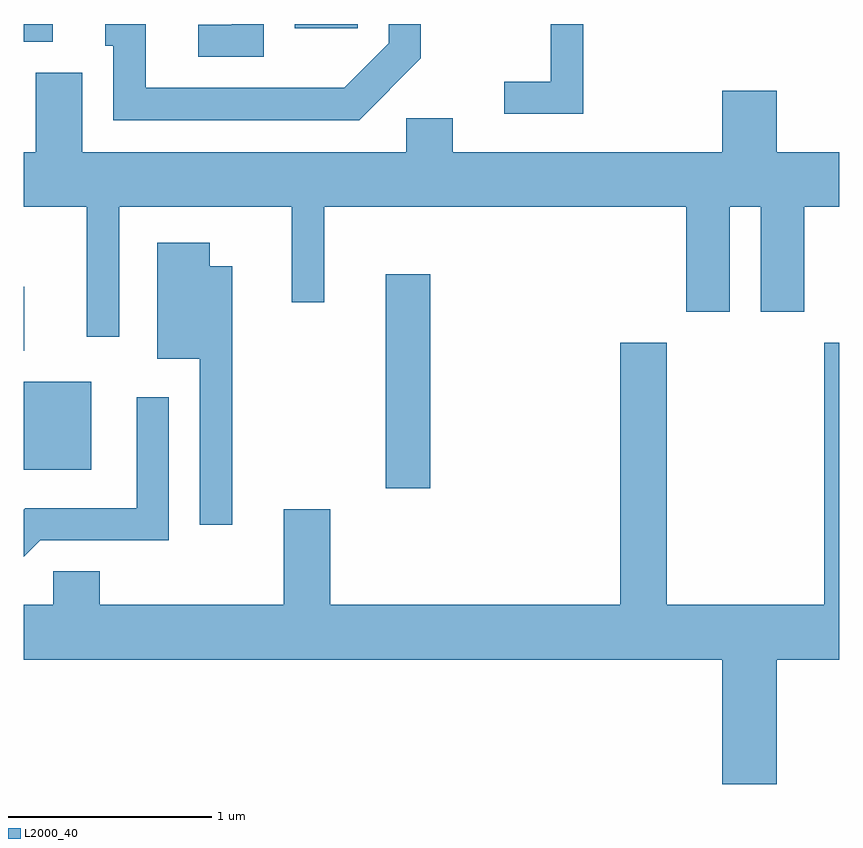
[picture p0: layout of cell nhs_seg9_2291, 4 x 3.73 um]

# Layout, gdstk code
import gdstk
lib = gdstk.Library(unit=1e-6, precision=1e-09)
def R(c, l, rs):  # rectangles x0, y0, x1, y1
    for r in rs: c.add(gdstk.rectangle(r[:2], r[2:], *l))
def P(c, l, *ps):  # polygons
    for p in ps: c.add(gdstk.Polygon(p, *l))
L2000_40 = (2000, 40)

nhs_seg9_2291 = lib.new_cell('nhs_seg9_2291')
R(nhs_seg9_2291, L2000_40, [(253.386,2048.156,253.604,2049.204), (251.611,2048.246,251.944,2048.679), (251.611,2048.831,251.614,2049.143), (251.611,2050.346,251.754,2050.432), (252.941,2050.411,253.249,2050.432)])
P(nhs_seg9_2291, L2000_40, [(252.789,2050.432),(252.631,2050.432),(252.631,2050.429),(252.468,2050.429),(252.468,2050.271),(252.789,2050.271)],
  [(254.354,2050.432),(254.196,2050.432),(254.196,2050.149),(253.968,2050.149),(253.968,2049.991),(254.354,2049.991)],
  [(253.559,2050.264),(253.559,2050.432),(253.401,2050.432),(253.401,2050.337),(253.184,2050.119),(252.209,2050.119),(252.209,2050.432),(252.011,2050.432),(252.011,2050.326),(252.051,2050.326),(252.051,2049.961),(253.257,2049.961)],
  [(251.921,2048.898),(252.079,2048.898),(252.079,2049.536),(252.926,2049.536),(252.926,2049.068),(253.084,2049.068),(253.084,2049.536),(254.861,2049.536),(254.861,2049.021),(255.074,2049.021),(255.074,2049.536),(255.226,2049.536),(255.226,2049.021),(255.439,2049.021),(255.439,2049.536),(255.611,2049.536),(255.611,2049.804),(255.304,2049.804),(255.304,2050.104),(255.036,2050.104),(255.036,2049.804),(253.714,2049.804),(253.714,2049.969),(253.486,2049.969),(253.486,2049.804),(251.899,2049.804),(251.899,2050.194),(251.671,2050.194),(251.671,2049.804),(251.611,2049.804),(251.611,2049.536),(251.921,2049.536)],
  [(252.634,2049.244),(252.524,2049.244),(252.524,2049.359),(252.266,2049.359),(252.266,2048.791),(252.476,2048.791),(252.476,2047.978),(252.634,2047.978)],
  [(255.304,2047.316),(255.611,2047.316),(255.611,2048.869),(255.536,2048.869),(255.536,2047.584),(254.764,2047.584),(254.764,2048.869),(254.536,2048.869),(254.536,2047.584),(253.114,2047.584),(253.114,2048.054),(252.886,2048.054),(252.886,2047.584),(251.984,2047.584),(251.984,2047.749),(251.756,2047.749),(251.756,2047.584),(251.611,2047.584),(251.611,2047.316),(255.036,2047.316),(255.036,2046.706),(255.304,2046.706)],
  [(251.692,2047.901),(252.324,2047.901),(252.324,2048.603),(252.166,2048.603),(252.166,2048.059),(251.619,2048.059),(251.611,2048.051),(251.611,2047.82)])

lib.write_gds('nhs_seg9_2291.gds')
